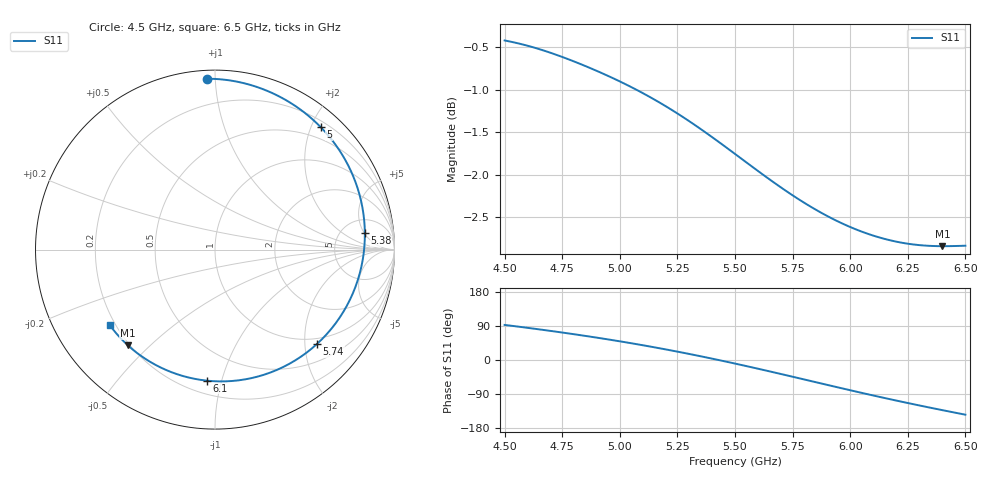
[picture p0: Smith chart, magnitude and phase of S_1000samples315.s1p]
! TOUCHSTONE file generated by CST MICROWAVE STUDIO
! Date and time: Thu Oct 27 18:03:09 2022
! Project name: L.cst
! Parameters = {Di=1.27; Epsilon_r=1.56; InnerDiameter=1.27; Length=2; Lf=10; Lg=60; OuterConductorThickness=0.2921; OuterDiameter=3.6; Wf=3; Wp=41.2; de=1.5; df=6.8; g=0.8; gx=4.62984; gy=3.07754; h=2.34; hf=1.524; px=12.1274; py=11.2414; w=9.7; wx=7.49755; wy=8.16385}
! Header version: 2018
! Port assignment regex: !\s*Touchstone port\s*([0-9]+)\s*=\s*(CST MWS port|CST DS port)\s*([0-9]+|Zmin|Zmax)\s*\(\"(.*)\"\)(\s*mode\s*([0-9]+))?.*
! Touchstone port assignment:
! Touchstone port 1 = CST MWS port 1 ("")
# GHz S DB R 50
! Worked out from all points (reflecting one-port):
!   101 points, 4.5 GHz to 6.5 GHz, reference 50 ohm
!   lowest |S11| = -2.8 dB at 6.4 GHz (marker M1), VSWR 6.17, Z = 9.63 - j21.4 ohm
!   phase of S11 starts at 93 deg and turns -237 deg over the sweep
!   S11 on the Smith chart (normalised r, x): 4.5 GHz: 0.05, +0.96; 5 GHz: 0.29, +2.15; 5.38 GHz: 8.31, +5.11; 5.74 GHz: 0.87, -2.27; 6.1 GHz: 0.29, -0.90; 6.5 GHz: 0.18, -0.31
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4.5  -0.42 92.6
4.64  -0.51 81.7
4.76  -0.62 71.6
4.88  -0.75 60.9
5  -0.90 49.3
5.06  -0.98 43.2
5.14  -1.10 34.6
5.2  -1.19 27.9
5.26  -1.30 20.9
5.32  -1.40 13.7
5.38  -1.52 6.2
5.44  -1.63 -1.5
5.5  -1.75 -9.4
5.56  -1.87 -17.5
5.62  -1.99 -25.8
5.68  -2.11 -34.2
5.74  -2.22 -42.7
5.76  -2.26 -45.6
5.82  -2.36 -54.2
5.88  -2.45 -62.7
5.94  -2.54 -71.3
6  -2.61 -79.8
6.1  -2.71 -93.6
6.18  -2.77 -104.4
6.26  -2.81 -114.8
6.32  -2.83 -122.4
6.4  -2.84 -132.3
6.5  -2.83 -144.3
